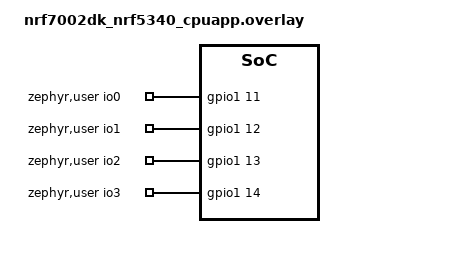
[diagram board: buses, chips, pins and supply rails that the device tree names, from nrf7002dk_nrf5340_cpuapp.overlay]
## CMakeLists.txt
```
cmake_minimum_required(VERSION 3.20.0)
find_package(Zephyr REQUIRED HINTS $ENV{ZEPHYR_BASE})

project(twt-testbed)

# Include directories for each module
target_include_directories(app PRIVATE
    ${CMAKE_CURRENT_SOURCE_DIR}/src/coap
    ${CMAKE_CURRENT_SOURCE_DIR}/src/profiler
    ${CMAKE_CURRENT_SOURCE_DIR}/src/wifi
    ${CMAKE_CURRENT_SOURCE_DIR}/src/tests
)

# Main source file
target_sources(app PRIVATE src/main.c)

# CoAP module
target_sources(app PRIVATE 
    src/coap/coap.c
    src/coap/coap_utils.c
    )

# Profiler module
target_sources(app PRIVATE src/profiler/profiler.c)

# WiFi module
target_sources(app PRIVATE
    src/wifi/wifi_ps.c
    src/wifi/wifi_sta.c
    src/wifi/wifi_twt.c
    src/wifi/wifi_utils.c
)

# Tests module
target_sources(app PRIVATE 
    src/tests/test_runner.c
    src/tests/test_sensor_twt.c
    src/tests/test_sensor_ps.c
    src/tests/test_sensor_twt_public_server.c
    src/tests/test_sensor_ps_public_server.c
    src/tests/test_large_packet_ps.c
    src/tests/test_large_packet_ps_public_server.c
    src/tests/test_large_packet_twt.c
    src/tests/test_large_packet_twt_public_server.c
)
```

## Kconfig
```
#
# Copyright (c) 2019 Nordic Semiconductor ASA
#
# SPDX-License-Identifier: LicenseRef-Nordic-5-Clause
#

menu "CoAP client"

config COAP_TWT_TESTBED_SERVER
  bool "Using TWT testbed server"

config COAP_TEST_SERVER_HOSTNAME
	string "CoAP server hostname or address"

config COAP_TEST_SERVER_PORT
	int "CoAP server port"

config COAP_TEST_RESOURCE
  depends on !COAP_TWT_TESTBED_SERVER
  string "Resource on server for the tests"


endmenu


choice
prompt "Select IP protocol"

config IP_PROTO_IPV4
  bool "IPv4"

config IP_PROTO_IPV6
  bool "IPv6"

endchoice



menu "Wi-Fi config"

menu "Wi-Fi credentials"
config WIFI_CREDENTIALS_STATIC_SSID
	string "Wi-Fi SSID"

config WIFI_CREDENTIALS_STATIC_PASSWORD
	string "Wi-Fi Password"

endmenu

menu "TWT config"

config TWT_ANNOUNCED_MODE
  bool "Enable TWT announced mode"

config TWT_TRIGGER
  bool "Enable TWT trigger"

config TWT_IMPLICIT
  bool "Enable TWT implicit"

endmenu

menu "PS settings"

config PS_LISTEN_INTERVAL
  int "Listen interval"
  help
    Listen Interval (used when PS is enabled and wakeup mode is listen interval)

endmenu
endmenu

menu "Tests"

config SENSOR_TESTS_ENABLE
  bool "Sensor Tests"

config SENSOR_PS_TESTS_ENABLE
  bool "PS"
  depends on SENSOR_TESTS_ENABLE

config SENSOR_PS_TEST_1
  bool "Test 1"
  depends on SENSOR_PS_TESTS_ENABLE

config SENSOR_PS_TEST_1_PS_ENABLED
  bool "PS enabled"
  depends on SENSOR_PS_TEST_1

config SENSOR_PS_TEST_1_ITERATIONS
  int "Iterations"
  depends on SENSOR_PS_TEST_1

config SENSOR_PS_TEST_1_SEND_INTERVAL
  int "Send interval (ms)"
  depends on SENSOR_PS_TEST_1

choice SENSOR_PS_TEST_1_MODE
  prompt "PS Mode"
  depends on SENSOR_PS_TEST_1 && SENSOR_PS_TEST_1_PS_ENABLED
  config SENSOR_PS_TEST_1_MODE_LEGACY
    bool "Legacy"
  config SENSOR_PS_TEST_1_MODE_WMM
    bool "WMM"
endchoice

choice SENSOR_PS_TEST_1_WAKEUP_MODE
  prompt "Wakeup mode"
  depends on SENSOR_PS_TEST_1 && SENSOR_PS_TEST_1_PS_ENABLED
  config SENSOR_PS_TEST_1_WAKEUP_MODE_DTIM
    bool "DTIM"
  config SENSOR_PS_TEST_1_WAKEUP_MODE_LISTENINTERVAL
    bool "Listen Interval"
endchoice

config SENSOR_PS_TEST_2
  bool "Test 2"
  depends on SENSOR_PS_TESTS_ENABLE

config SENSOR_PS_TEST_2_PS_ENABLED
  bool "PS enabled"
  depends on SENSOR_PS_TEST_2

config SENSOR_PS_TEST_2_ITERATIONS
  int "Iterations"
  depends on SENSOR_PS_TEST_2

config SENSOR_PS_TEST_2_SEND_INTERVAL
  int "Send interval (ms)"
  depends on SENSOR_PS_TEST_2

choice SENSOR_PS_TEST_2_MODE
  prompt "PS Mode"
  depends on SENSOR_PS_TEST_2 && SENSOR_PS_TEST_2_PS_ENABLED
  config SENSOR_PS_TEST_2_MODE_LEGACY
    bool "Legacy"
  config SENSOR_PS_TEST_2_MODE_WMM
    bool "WMM"
endchoice

choice SENSOR_PS_TEST_2_WAKEUP_MODE
  prompt "Wakeup mode"
  depends on SENSOR_PS_TEST_2 && SENSOR_PS_TEST_2_PS_ENABLED
  config SENSOR_PS_TEST_2_WAKEUP_MODE_DTIM
    bool "DTIM"
  config SENSOR_PS_TEST_2_WAKEUP_MODE_LISTENINTERVAL
    bool "Listen Interval"
endchoice
config SENSOR_PS_TEST_3
  bool "Test 3"
  depends on SENSOR_PS_TESTS_ENABLE

config SENSOR_PS_TEST_3_PS_ENABLED
  bool "PS enabled"
  depends on SENSOR_PS_TEST_3

config SENSOR_PS_TEST_3_ITERATIONS
  int "Iterations"
  depends on SENSOR_PS_TEST_3

config SENSOR_PS_TEST_3_SEND_INTERVAL
  int "Send interval (ms)"
  depends on SENSOR_PS_TEST_3

choice SENSOR_PS_TEST_3_MODE
  prompt "PS Mode"
  depends on SENSOR_PS_TEST_3 && SENSOR_PS_TEST_3_PS_ENABLED
  config SENSOR_PS_TEST_3_MODE_LEGACY
    bool "Legacy"
  config SENSOR_PS_TEST_3_MODE_WMM
    bool "WMM"
endchoice

choice SENSOR_PS_TEST_3_WAKEUP_MODE
  prompt "Wakeup mode"
  depends on SENSOR_PS_TEST_3 && SENSOR_PS_TEST_3_PS_ENABLED
  config SENSOR_PS_TEST_3_WAKEUP_MODE_DTIM
    bool "DTIM"
  config SENSOR_PS_TEST_3_WAKEUP_MODE_LISTENINTERVAL
    bool "Listen Interval"
endchoice

config SENSOR_PS_TEST_4
  bool "Test 4"
  depends on SENSOR_PS_TESTS_ENABLE

config SENSOR_PS_TEST_4_PS_ENABLED
  bool "PS enabled"
  depends on SENSOR_PS_TEST_4

config SENSOR_PS_TEST_4_ITERATIONS
  int "Iterations"
  depends on SENSOR_PS_TEST_4

config SENSOR_PS_TEST_4_SEND_INTERVAL
  int "Send interval (ms)"
  depends on SENSOR_PS_TEST_4

choice SENSOR_PS_TEST_4_MODE
  prompt "PS Mode"
  depends on SENSOR_PS_TEST_4 && SENSOR_PS_TEST_4_PS_ENABLED
  config SENSOR_PS_TEST_4_MODE_LEGACY
    bool "Legacy"
  config SENSOR_PS_TEST_4_MODE_WMM
    bool "WMM"
endchoice

choice SENSOR_PS_TEST_4_WAKEUP_MODE
  prompt "Wakeup mode"
  depends on SENSOR_PS_TEST_4 && SENSOR_PS_TEST_4_PS_ENABLED
  config SENSOR_PS_TEST_4_WAKEUP_MODE_DTIM
    bool "DTIM"
  config SENSOR_PS_TEST_4_WAKEUP_MODE_LISTENINTERVAL
    bool "Listen Interval"
endchoice

config SENSOR_PS_TEST_5
  bool "Test 5"
  depends on SENSOR_PS_TESTS_ENABLE

config SENSOR_PS_TEST_5_PS_ENABLED
  bool "PS enabled"
  depends on SENSOR_PS_TEST_5

config SENSOR_PS_TEST_5_ITERATIONS
  int "Iterations"
  depends on SENSOR_PS_TEST_5

config SENSOR_PS_TEST_5_SEND_INTERVAL
  int "Send interval (ms)"
  depends on SENSOR_PS_TEST_5

choice SENSOR_PS_TEST_5_MODE
  prompt "PS Mode"
  depends on SENSOR_PS_TEST_5 && SENSOR_PS_TEST_5_PS_ENABLED
  config SENSOR_PS_TEST_5_MODE_LEGACY
    bool "Legacy"
  config SENSOR_PS_TEST_5_MODE_WMM
    bool "WMM"
endchoice

choice SENSOR_PS_TEST_5_WAKEUP_MODE
  prompt "Wakeup mode"
  depends on SENSOR_PS_TEST_5 && SENSOR_PS_TEST_5_PS_ENABLED
  config SENSOR_PS_TEST_5_WAKEUP_MODE_DTIM
    bool "DTIM"
  config SENSOR_PS_TEST_5_WAKEUP_MODE_LISTENINTERVAL
    bool "Listen Interval"
endchoice

config SENSOR_TWT_TESTS_ENABLE
  bool "TWT"
  depends on SENSOR_TESTS_ENABLE

config SENSOR_TWT_TEST_1
  bool "Test 1"
  depends on SENSOR_TWT_TESTS_ENABLE

config SENSOR_TWT_TEST_1_ITERATIONS
  int "Iterations"
  depends on SENSOR_TWT_TEST_1

config SENSOR_TWT_TEST_1_INTERVAL
  int "TWT interval (ms)"
  depends on SENSOR_TWT_TEST_1

config SENSOR_TWT_TEST_1_SESSION_DURATION
  int "TWT session duration (ms)"
  depends on SENSOR_TWT_TEST_1

config SENSOR_TWT_TEST_2
  bool "Test 2"
  depends on SENSOR_TWT_TESTS_ENABLE

config SENSOR_TWT_TEST_2_ITERATIONS
  int "Iterations"
  depends on SENSOR_TWT_TEST_2

config SENSOR_TWT_TEST_2_INTERVAL
  int "TWT interval (ms)"
  depends on SENSOR_TWT_TEST_2

config SENSOR_TWT_TEST_2_SESSION_DURATION
  int "TWT session duration (ms)"
  depends on SENSOR_TWT_TEST_2

config SENSOR_TWT_TEST_3
  bool "Test 3"
  depends on SENSOR_TWT_TESTS_ENABLE

config SENSOR_TWT_TEST_3_ITERATIONS
  int "Iterations"
  depends on SENSOR_TWT_TEST_3

config SENSOR_TWT_TEST_3_INTERVAL
  int "TWT interval (ms)"
  depends on SENSOR_TWT_TEST_3

config SENSOR_TWT_TEST_3_SESSION_DURATION
  int "TWT session duration (ms)"
  depends on SENSOR_TWT_TEST_3

config SENSOR_TWT_TEST_4
  bool "Test 4"
  depends on SENSOR_TWT_TESTS_ENABLE

config SENSOR_TWT_TEST_4_ITERATIONS
  int "Iterations"
  depends on SENSOR_TWT_TEST_4

config SENSOR_TWT_TEST_4_INTERVAL
  int "TWT interval (ms)"
  depends on SENSOR_TWT_TEST_4

config SENSOR_TWT_TEST_4_SESSION_DURATION
  int "TWT session duration (ms)"
  depends on SENSOR_TWT_TEST_4

config SENSOR_TWT_TEST_5
  bool "Test 5"
  depends on SENSOR_TWT_TESTS_ENABLE

config SENSOR_TWT_TEST_5_ITERATIONS
  int "Iterations"
  depends on SENSOR_TWT_TEST_5

config SENSOR_TWT_TEST_5_INTERVAL
  int "TWT interval (ms)"
  depends on SENSOR_TWT_TEST_5

config SENSOR_TWT_TEST_5_SESSION_DURATION
  int "TWT session duration (ms)"
  depends on SENSOR_TWT_TEST_5



config LARGE_PACKET_TESTS_ENABLE
  bool "Large Packet Tests"

  config LARGE_PACKET_PS_TESTS_ENABLE
    bool "PS"
    depends on LARGE_PACKET_TESTS_ENABLE

  config LARGE_PACKET_PS_TEST_1
    bool "Test 1"
    depends on LARGE_PACKET_PS_TESTS_ENABLE

  choice LARGE_PACKET_PS_TEST_1_SERVER_CONFIG
    prompt "Large Packet Config"
    depends on LARGE_PACKET_PS_TEST_1 && COAP_TWT_TESTBED_SERVER
    config LARGE_PACKET_PS_TEST_1_SERVER_LREQ_SRES
      bool "Large request, small response"
    config LARGE_PACKET_PS_TEST_1_SERVER_SREQ_LRES
      bool "Small request, large response"
    config LARGE_PACKET_PS_TEST_1_SERVER_LREQ_LRES
      bool "Large request, large response"
  endchoice

  config LARGE_PACKET_PS_TEST_1_PS_ENABLED
    bool "PS enabled"
    depends on LARGE_PACKET_PS_TEST_1

  config LARGE_PACKET_PS_TEST_1_ITERATIONS
    int "Iterations"
    depends on LARGE_PACKET_PS_TEST_1

  config LARGE_PACKET_PS_TEST_1_SEND_INTERVAL
    int "Send interval (ms)"
    depends on LARGE_PACKET_PS_TEST_1

  config LARGE_PACKET_PS_TEST_1_NUM_BYTES
    int "Number of bytes"
    depends on LARGE_PACKET_PS_TEST_1

  choice LARGE_PACKET_PS_TEST_1_MODE
    prompt "PS Mode"
    depends on LARGE_PACKET_PS_TEST_1 && LARGE_PACKET_PS_TEST_1_PS_ENABLED
    config LARGE_PACKET_PS_TEST_1_MODE_LEGACY
      bool "Legacy"
    config LARGE_PACKET_PS_TEST_1_MODE_WMM
      bool "WMM"
  endchoice

  choice LARGE_PACKET_PS_TEST_1_WAKEUP_MODE
    prompt "Wakeup mode"
    depends on LARGE_PACKET_PS_TEST_1 && LARGE_PACKET_PS_TEST_1_PS_ENABLED
    config LARGE_PACKET_PS_TEST_1_WAKEUP_MODE_DTIM
      bool "DTIM"
    config LARGE_PACKET_PS_TEST_1_WAKEUP_MODE_LISTENINTERVAL
      bool "Listen Interval"
  endchoice

  config LARGE_PACKET_PS_TEST_2
    bool "Test 2"
    depends on LARGE_PACKET_PS_TESTS_ENABLE

  choice LARGE_PACKET_PS_TEST_2_SERVER_CONFIG
    prompt "Large Packets Config"
    depends on LARGE_PACKET_PS_TEST_2 && COAP_TWT_TESTBED_SERVER
    config LARGE_PACKET_PS_TEST_2_SERVER_LREQ_SRES
      bool "Large request, small response"
    config LARGE_PACKET_PS_TEST_2_SERVER_SREQ_LRES
      bool "Small request, large response"
    config LARGE_PACKET_PS_TEST_2_SERVER_LREQ_LRES
      bool "Large request, large response"
  endchoice

  config LARGE_PACKET_PS_TEST_2_PS_ENABLED
    bool "PS enabled"
    depends on LARGE_PACKET_PS_TEST_2

  config LARGE_PACKET_PS_TEST_2_ITERATIONS
    int "Iterations"
    depends on LARGE_PACKET_PS_TEST_2

  config LARGE_PACKET_PS_TEST_2_SEND_INTERVAL
    int "Send interval (ms)"
    depends on LARGE_PACKET_PS_TEST_2

  config LARGE_PACKET_PS_TEST_2_NUM_BYTES
    int "Number of bytes"
    depends on LARGE_PACKET_PS_TEST_2

  choice LARGE_PACKET_PS_TEST_2_MODE
    prompt "PS Mode"
    depends on LARGE_PACKET_PS_TEST_2 && LARGE_PACKET_PS_TEST_2_PS_ENABLED
    config LARGE_PACKET_PS_TEST_2_MODE_LEGACY
      bool "Legacy"
    config LARGE_PACKET_PS_TEST_2_MODE_WMM
      bool "WMM"
  endchoice

  choice LARGE_PACKET_PS_TEST_2_WAKEUP_MODE
    prompt "Wakeup mode"
    depends on LARGE_PACKET_PS_TEST_2 && LARGE_PACKET_PS_TEST_2_PS_ENABLED
    config LARGE_PACKET_PS_TEST_2_WAKEUP_MODE_DTIM
      bool "DTIM"
    config LARGE_PACKET_PS_TEST_2_WAKEUP_MODE_LISTENINTERVAL
      bool "Listen Interval"
  endchoice

  config LARGE_PACKET_PS_TEST_3
    bool "Test 3"
    depends on LARGE_PACKET_PS_TESTS_ENABLE

  choice LARGE_PACKET_PS_TEST_3_SERVER_CONFIG
    prompt "Large Packets Config"
    depends on LARGE_PACKET_PS_TEST_3 && COAP_TWT_TESTBED_SERVER
    config LARGE_PACKET_PS_TEST_3_SERVER_LREQ_SRES
      bool "Large request, small response"
    config LARGE_PACKET_PS_TEST_3_SERVER_SREQ_LRES
      bool "Small request, large response"
    config LARGE_PACKET_PS_TEST_3_SERVER_LREQ_LRES
      bool "Large request, large response"
  endchoice

  config LARGE_PACKET_PS_TEST_3_PS_ENABLED
    bool "PS enabled"
    depends on LARGE_PACKET_PS_TEST_3

  config LARGE_PACKET_PS_TEST_3_ITERATIONS
    int "Iterations"
    depends on LARGE_PACKET_PS_TEST_3

  config LARGE_PACKET_PS_TEST_3_SEND_INTERVAL
    int "Send interval (ms)"
    depends on LARGE_PACKET_PS_TEST_3

  config LARGE_PACKET_PS_TEST_3_NUM_BYTES
    int "Number of bytes"
    depends on LARGE_PACKET_PS_TEST_3

  choice LARGE_PACKET_PS_TEST_3_MODE
    prompt "PS Mode"
    depends on LARGE_PACKET_PS_TEST_3 && LARGE_PACKET_PS_TEST_3_PS_ENABLED
    config LARGE_PACKET_PS_TEST_3_MODE_LEGACY
      bool "Legacy"
    config LARGE_PACKET_PS_TEST_3_MODE_WMM
      bool "WMM"
  endchoice

  choice LARGE_PACKET_PS_TEST_3_WAKEUP_MODE
    prompt "Wakeup mode"
    depends on LARGE_PACKET_PS_TEST_3 && LARGE_PACKET_PS_TEST_3_PS_ENABLED
    config LARGE_PACKET_PS_TEST_3_WAKEUP_MODE_DTIM
      bool "DTIM"
    config LARGE_PACKET_PS_TEST_3_WAKEUP_MODE_LISTENINTERVAL
      bool "Listen Interval"
  endchoice

  config LARGE_PACKET_TWT_TESTS_ENABLE
    bool "TWT"
    depends on LARGE_PACKET_TESTS_ENABLE

  config LARGE_PACKET_TWT_TEST_1
    bool "Test 1"
    depends on LARGE_PACKET_TWT_TESTS_ENABLE

  choice LARGE_PACKET_TWT_TEST_1_SERVER_CONFIG
    prompt "Large Packet Config"
    depends on LARGE_PACKET_TWT_TEST_1 && COAP_TWT_TESTBED_SERVER
    config LARGE_PACKET_TWT_TEST_1_SERVER_LREQ_SRES
      bool "Large request, small response"
    config LARGE_PACKET_TWT_TEST_1_SERVER_SREQ_LRES
      bool "Small request, large response"
    config LARGE_PACKET_TWT_TEST_1_SERVER_LREQ_LRES
      bool "Large request, large response"
  endchoice

  config LARGE_PACKET_TWT_TEST_1_ITERATIONS
    int "Iterations"
    depends on LARGE_PACKET_TWT_TEST_1

  config LARGE_PACKET_TWT_TEST_1_INTERVAL
    int "TWT interval (ms)"
    depends on LARGE_PACKET_TWT_TEST_1

  config LARGE_PACKET_TWT_TEST_1_SESSION_DURATION
    int "TWT session duration (ms)"
    depends on LARGE_PACKET_TWT_TEST_1

  config LARGE_PACKET_TWT_TEST_1_NUM_BYTES
    int "Number of bytes"
    depends on LARGE_PACKET_TWT_TEST_1

  config LARGE_PACKET_TWT_TEST_2
    bool "Test 2"
    depends on LARGE_PACKET_TWT_TESTS_ENABLE

  choice LARGE_PACKET_TWT_TEST_2_SERVER_CONFIG
    prompt "Large Packet Config"
    depends on LARGE_PACKET_TWT_TEST_2 && COAP_TWT_TESTBED_SERVER
    config LARGE_PACKET_TWT_TEST_2_SERVER_LREQ_SRES
      bool "Large request, small response"
    config LARGE_PACKET_TWT_TEST_2_SERVER_SREQ_LRES
      bool "Small request, large response"
    config LARGE_PACKET_TWT_TEST_2_SERVER_LREQ_LRES
      bool "Large request, large response"
  endchoice

  config LARGE_PACKET_TWT_TEST_2_ITERATIONS
    int "Iterations"
    depends on LARGE_PACKET_TWT_TEST_2

  config LARGE_PACKET_TWT_TEST_2_INTERVAL
    int "TWT interval (ms)"
    depends on LARGE_PACKET_TWT_TEST_2

  config LARGE_PACKET_TWT_TEST_2_SESSION_DURATION
    int "TWT session duration (ms)"
    depends on LARGE_PACKET_TWT_TEST_2

  config LARGE_PACKET_TWT_TEST_2_NUM_BYTES
    int "Number of bytes"
    depends on LARGE_PACKET_TWT_TEST_2

  config LARGE_PACKET_TWT_TEST_3
    bool "Test 3"
    depends on LARGE_PACKET_TWT_TESTS_ENABLE

  choice LARGE_PACKET_TWT_TEST_3_SERVER_CONFIG
    prompt "Large Packet Config"
    depends on LARGE_PACKET_TWT_TEST_3 && COAP_TWT_TESTBED_SERVER
    config LARGE_PACKET_TWT_TEST_3_SERVER_LREQ_SRES
      bool "Large request, small response"
    config LARGE_PACKET_TWT_TEST_3_SERVER_SREQ_LRES
      bool "Small request, large response"
    config LARGE_PACKET_TWT_TEST_3_SERVER_LREQ_LRES
      bool "Large request, large response"
  endchoice

  config LARGE_PACKET_TWT_TEST_3_ITERATIONS
    int "Iterations"
    depends on LARGE_PACKET_TWT_TEST_3

  config LARGE_PACKET_TWT_TEST_3_INTERVAL
    int "TWT interval (ms)"
    depends on LARGE_PACKET_TWT_TEST_3

  config LARGE_PACKET_TWT_TEST_3_SESSION_DURATION
    int "TWT session duration (ms)"
    depends on LARGE_PACKET_TWT_TEST_3

  config LARGE_PACKET_TWT_TEST_3_NUM_BYTES
    int "Number of bytes"
    depends on LARGE_PACKET_TWT_TEST_3

  

endmenu

menu "Log Levels"
config MY_MAIN_LOG_LEVEL
    int "Main log level"
    range 0 4
    depends on LOG
    help
      Levels are:

      - 0 OFF, do not write by default
      - 1 ERROR, default to only write LOG_LEVEL_ERR
      - 2 WARNING, default to write LOG_LEVEL_WRN
      - 3 INFO, default to write LOG_LEVEL_INFO
      - 4 DEBUG, default to write LOG_LEVEL_DBG

config MY_WIFI_LOG_LEVEL
    int "Wi-Fi log level"
    range 0 4
    depends on LOG
    help
      Levels are:

      - 0 OFF, do not write by default
      - 1 ERROR, default to only write LOG_LEVEL_ERR
      - 2 WARNING, default to write LOG_LEVEL_WRN
      - 3 INFO, default to write LOG_LEVEL_INFO
      - 4 DEBUG, default to write LOG_LEVEL_DBG

config MY_COAP_LOG_LEVEL
    int "CoAP log level"
    range 0 4
    depends on LOG
    help
      Levels are:

      - 0 OFF, do not write by default
      - 1 ERROR, default to only write LOG_LEVEL_ERR
      - 2 WARNING, default to write LOG_LEVEL_WRN
      - 3 INFO, default to write LOG_LEVEL_INFO
      - 4 DEBUG, default to write LOG_LEVEL_DBG

config MY_TEST_LOG_LEVEL
    int "Test log level"
    range 0 4
    depends on LOG
    help
      Levels are:

      - 0 OFF, do not write by default
      - 1 ERROR, default to only write LOG_LEVEL_ERR
      - 2 WARNING, default to write LOG_LEVEL_WRN
      - 3 INFO, default to write LOG_LEVEL_INFO
      - 4 DEBUG, default to write LOG_LEVEL_DBG
endmenu



menu "Zephyr Kernel"
source "Kconfig.zephyr"
endmenu
```

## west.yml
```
# Copyright (c) 2025 Nordic Semiconductor ASA
# SPDX-License-Identifier: Apache-2.0

manifest:
  self:
    west-commands: scripts/west-commands.yml

  remotes:
    - name: ncs
      url-base: https://github.com/nrfconnect

  projects:
    - name: nrf
      remote: ncs
      repo-path: sdk-nrf
      revision: v2.8.0
      import: true
```

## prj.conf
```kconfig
# General
CONFIG_LOG=y
CONFIG_ASSERT=y
CONFIG_REBOOT=y
CONFIG_MAIN_STACK_SIZE=4096
CONFIG_LOG_BUFFER_SIZE=4096
CONFIG_ENTROPY_GENERATOR=y
CONFIG_GPIO=y

# WiFi
CONFIG_WIFI=y
CONFIG_WIFI_NRF700X=y

# WPA supplicant
CONFIG_WPA_SUPP=y
CONFIG_NRF_WIFI_RPU_RECOVERY=y

CONFIG_WIFI_MGMT_EXT=y
CONFIG_WIFI_CREDENTIALS=y
CONFIG_WIFI_CREDENTIALS_STATIC=y


# Networking
CONFIG_NETWORKING=y
CONFIG_NET_SOCKETS=y
CONFIG_NET_IPV4=y
CONFIG_NET_UDP=y
CONFIG_NET_TCP=y
CONFIG_NET_DHCPV4=y

CONFIG_NET_IPV6=y

CONFIG_NET_PKT_RX_COUNT=8
CONFIG_NET_PKT_TX_COUNT=8


# Below section is the primary contributor to SRAM and is currently
# tuned for performance, but this will be revisited in the future.
CONFIG_NET_BUF_RX_COUNT=16
CONFIG_NET_BUF_TX_COUNT=16
CONFIG_NET_BUF_DATA_SIZE=128
CONFIG_HEAP_MEM_POOL_SIZE=153600
CONFIG_NET_TC_TX_COUNT=1

CONFIG_NET_IF_UNICAST_IPV4_ADDR_COUNT=1
CONFIG_NET_MAX_CONTEXTS=5
CONFIG_NET_CONTEXT_SYNC_RECV=y

CONFIG_INIT_STACKS=y

CONFIG_NET_L2_ETHERNET=y

CONFIG_NET_CONFIG_SETTINGS=y
CONFIG_NET_CONFIG_INIT_TIMEOUT=0

CONFIG_NET_SOCKETS_POLL_MAX=10


# CoAP
CONFIG_COAP=y
CONFIG_COAP_CLIENT=y
CONFIG_COAP_CLIENT_THREAD_PRIORITY=10
CONFIG_COAP_CLIENT_MESSAGE_SIZE=1024
CONFIG_COAP_CLIENT_MESSAGE_HEADER_SIZE=64

# DNS
CONFIG_DNS_RESOLVER=y

#ARP
CONFIG_NET_ARP=y


#Kconfig GUI parameters
CONFIG_COAP_TEST_SERVER_HOSTNAME="192.168.1.228"
CONFIG_COAP_TEST_SERVER_PORT=5683

CONFIG_WIFI_CREDENTIALS_STATIC_SSID="asus-ax58u"
CONFIG_WIFI_CREDENTIALS_STATIC_PASSWORD="twttestbench"

CONFIG_MY_MAIN_LOG_LEVEL=3
CONFIG_MY_WIFI_LOG_LEVEL=3
CONFIG_MY_COAP_LOG_LEVEL=3
CONFIG_MY_TEST_LOG_LEVEL=3

CONFIG_TWT_IMPLICIT=y

CONFIG_PS_LISTEN_INTERVAL=10

CONFIG_COAP_TEST_RESOURCE="validate"

CONFIG_TWT_ANNOUNCED_MODE=y

CONFIG_SENSOR_PS_TESTS_ENABLE=y
CONFIG_SENSOR_PS_TEST_1=y
CONFIG_SENSOR_PS_TEST_1_ITERATIONS=5
CONFIG_SENSOR_PS_TEST_1_SEND_INTERVAL=5000
CONFIG_SENSOR_PS_TEST_2=y
CONFIG_SENSOR_PS_TEST_2_PS_ENABLED=y
CONFIG_SENSOR_PS_TEST_2_ITERATIONS=5
CONFIG_SENSOR_PS_TEST_2_SEND_INTERVAL=5000
CONFIG_SENSOR_PS_TEST_3=y
CONFIG_SENSOR_PS_TEST_3_PS_ENABLED=y
CONFIG_SENSOR_PS_TEST_3_ITERATIONS=5
CONFIG_SENSOR_PS_TEST_3_SEND_INTERVAL=5000
CONFIG_SENSOR_PS_TEST_3_MODE_WMM=y
CONFIG_SENSOR_PS_TEST_4=y
CONFIG_SENSOR_PS_TEST_4_PS_ENABLED=y
CONFIG_SENSOR_PS_TEST_4_ITERATIONS=5
CONFIG_SENSOR_PS_TEST_4_SEND_INTERVAL=5000
CONFIG_SENSOR_PS_TEST_4_WAKEUP_MODE_LISTENINTERVAL=y
CONFIG_SENSOR_PS_TEST_5=y
CONFIG_SENSOR_PS_TEST_5_PS_ENABLED=y
CONFIG_SENSOR_PS_TEST_5_ITERATIONS=5
CONFIG_SENSOR_PS_TEST_5_SEND_INTERVAL=5000
CONFIG_SENSOR_PS_TEST_5_MODE_WMM=y
CONFIG_SENSOR_PS_TEST_5_WAKEUP_MODE_LISTENINTERVAL=y
CONFIG_SENSOR_TWT_TESTS_ENABLE=y
CONFIG_SENSOR_TWT_TEST_1=y
CONFIG_SENSOR_TWT_TEST_1_ITERATIONS=5
CONFIG_SENSOR_TWT_TEST_1_INTERVAL=5000
CONFIG_SENSOR_TWT_TEST_1_SESSION_DURATION=8
CONFIG_SENSOR_TWT_TEST_2=y
CONFIG_SENSOR_TWT_TEST_2_ITERATIONS=5
CONFIG_SENSOR_TWT_TEST_2_INTERVAL=5000
CONFIG_SENSOR_TWT_TEST_2_SESSION_DURATION=16
CONFIG_SENSOR_TWT_TEST_3=y
CONFIG_SENSOR_TWT_TEST_3_ITERATIONS=5
CONFIG_SENSOR_TWT_TEST_3_INTERVAL=5000
CONFIG_SENSOR_TWT_TEST_3_SESSION_DURATION=32
CONFIG_SENSOR_TWT_TEST_4=y
CONFIG_SENSOR_TWT_TEST_4_ITERATIONS=5
CONFIG_SENSOR_TWT_TEST_4_INTERVAL=5000
CONFIG_SENSOR_TWT_TEST_4_SESSION_DURATION=64
CONFIG_SENSOR_TWT_TEST_5=y
CONFIG_SENSOR_TWT_TEST_5_ITERATIONS=5
CONFIG_SENSOR_TWT_TEST_5_INTERVAL=5000
CONFIG_SENSOR_TWT_TEST_5_SESSION_DURATION=128
CONFIG_LARGE_PACKET_TESTS_ENABLE=y
CONFIG_LARGE_PACKET_PS_TEST_1=y
CONFIG_LARGE_PACKET_PS_TEST_1_ITERATIONS=5
CONFIG_LARGE_PACKET_PS_TEST_1_SEND_INTERVAL=5000
CONFIG_LARGE_PACKET_PS_TEST_1_NUM_BYTES=1000

CONFIG_LARGE_PACKET_PS_TEST_2_ITERATIONS=5
CONFIG_LARGE_PACKET_PS_TEST_2_SEND_INTERVAL=5000
CONFIG_LARGE_PACKET_PS_TEST_2_NUM_BYTES=1000

CONFIG_LARGE_PACKET_PS_TEST_2=y
CONFIG_LARGE_PACKET_PS_TEST_2_SERVER_SREQ_LRES=y
CONFIG_LARGE_PACKET_PS_TEST_3=y
CONFIG_LARGE_PACKET_PS_TEST_3_SERVER_LREQ_LRES=y
CONFIG_LARGE_PACKET_PS_TEST_3_ITERATIONS=5
CONFIG_LARGE_PACKET_PS_TEST_3_SEND_INTERVAL=5000
CONFIG_LARGE_PACKET_PS_TEST_3_NUM_BYTES=1000
CONFIG_LARGE_PACKET_TWT_TESTS_ENABLE=y
CONFIG_LARGE_PACKET_TWT_TEST_1=y
CONFIG_LARGE_PACKET_TWT_TEST_1_ITERATIONS=5
CONFIG_LARGE_PACKET_TWT_TEST_1_INTERVAL=5000
CONFIG_LARGE_PACKET_TWT_TEST_1_SESSION_DURATION=32
CONFIG_LARGE_PACKET_TWT_TEST_1_NUM_BYTES=1000
CONFIG_LARGE_PACKET_TWT_TEST_2=y
CONFIG_LARGE_PACKET_TWT_TEST_2_ITERATIONS=5
CONFIG_LARGE_PACKET_TWT_TEST_2_INTERVAL=5000
CONFIG_LARGE_PACKET_TWT_TEST_2_SESSION_DURATION=32
CONFIG_LARGE_PACKET_TWT_TEST_2_NUM_BYTES=1000
CONFIG_LARGE_PACKET_TWT_TEST_3=y
CONFIG_LARGE_PACKET_TWT_TEST_3_ITERATIONS=5
CONFIG_LARGE_PACKET_TWT_TEST_3_INTERVAL=5000
CONFIG_LARGE_PACKET_TWT_TEST_3_SESSION_DURATION=32
CONFIG_LARGE_PACKET_TWT_TEST_3_NUM_BYTES=1000
CONFIG_COAP_TWT_TESTBED_SERVER=y
```

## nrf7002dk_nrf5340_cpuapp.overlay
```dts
// To get started, press Ctrl+Space to bring up the completion menu and view the available nodes.

// You can also use the buttons in the sidebar to perform actions on nodes.
// Actions currently available include:

// * Enabling / disabling the node
// * Adding the bus to a bus
// * Removing the node
// * Connecting ADC channels

// For more help, browse the DeviceTree documentation at https://docs.zephyrproject.org/latest/guides/dts/index.html
// You can also visit the nRF DeviceTree extension documentation at https://docs.nordicsemi.com/bundle/nrf-connect-vscode/page/guides/ncs_configure_app.html#devicetree-support-in-the-extension

/ {
	zephyr,user {
		io0-gpios = <&gpio1 11 GPIO_ACTIVE_HIGH>;
		io1-gpios = <&gpio1 12 GPIO_ACTIVE_HIGH>;
		io2-gpios = <&gpio1 13 GPIO_ACTIVE_HIGH>;
		io3-gpios = <&gpio1 14 GPIO_ACTIVE_HIGH>;
	};
};
```

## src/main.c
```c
#include <stdio.h>
#include <string.h>

#include <zephyr/kernel.h>
#include <zephyr/logging/log.h>
#include <zephyr/logging/log_ctrl.h>
#include <zephyr/random/random.h>

#include "wifi_sta.h"
#include "wifi_ps.h"
#include "wifi_twt.h"

#include "coap.h"

#include "profiler.h"

#include "test_runner.h"


LOG_MODULE_REGISTER(main, CONFIG_MY_MAIN_LOG_LEVEL);


int main(void)
{
    int ret;

    LOG_INF("Starting TWT testbed ...");

    // initialize setup
    ret = profiler_init();
    if(ret != 0)
    {
        LOG_ERR("Failed to initialize profiler");
        k_sleep(K_FOREVER);
    }

    wifi_init();

    wifi_ps_set_listen_interval(CONFIG_PS_LISTEN_INTERVAL);

    ret = wifi_ps_disable();
    if(ret != 0)
    {
        LOG_ERR("Failed to disable power save mode");
        k_sleep(K_FOREVER);
    }

    ret = wifi_connect();
    if(ret != 0)
    {
        LOG_ERR("Failed to connect to wifi");
        k_sleep(K_FOREVER);
    }

    
    coap_init();
    if(ret != 0)
    {
        LOG_ERR("Failed to initialize CoAP client");
        k_sleep(K_FOREVER);
    }

    //test code
    coap_validate();

    k_sleep(K_SECONDS(10));

    coap_observe("observe","/5/2/10/",true);


    k_sleep(K_FOREVER);

    //end test code



    k_sleep(K_SECONDS(1));
 
    #ifdef CONFIG_COAP_TWT_TESTBED_SERVER
    ret = coap_validate();
    if(ret != 0)
    {
        LOG_ERR("Failed to validate CoAP client");
        k_sleep(K_FOREVER);
    }
    #endif //CONFIG_COAP_TWT_TESTBED_SERVER

    ret = wifi_disconnect();
    if(ret != 0)
    {
        LOG_ERR("Failed to disconnect from wifi");
        k_sleep(K_FOREVER);
     }

    k_sleep(K_SECONDS(1));

    LOG_INF("TWT testbed initialized. Running tests ...");

    //run tests

    run_tests();


    LOG_INF("Tests Finished!");


    k_sleep(K_FOREVER);
    return 0;
}
```

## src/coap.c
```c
#include "coap.h"

#include <zephyr/net/socket.h>
#include <zephyr/kernel.h>
#include <zephyr/sys/reboot.h>
#include <zephyr/net/socket.h>
#include <zephyr/logging/log.h>
#include <zephyr/logging/log_ctrl.h>
#include <zephyr/net/tls_credentials.h>
#include <zephyr/net/coap.h>
#include <zephyr/net/coap_client.h>

LOG_MODULE_REGISTER(coap, CONFIG_MY_COAP_LOG_LEVEL);

#define COAP_REQUESTS_HEAP_SIZE 512
#define STACK_SIZE 4096
#define PRIORITY 8

K_THREAD_STACK_DEFINE(thread_stack, STACK_SIZE);
struct k_thread coap_thread_data;

K_HEAP_DEFINE(coap_requests_heap, COAP_REQUESTS_HEAP_SIZE);

K_SEM_DEFINE(send_sem, 0, 1);
K_SEM_DEFINE(sent_sem, 0, 1);

K_SEM_DEFINE(init_sem, 0, 1);
K_SEM_DEFINE(validate_sem, 0, 1);

struct request_user_data {
	struct coap_client_request *req;
	struct coap_transmission_parameters *req_params;
};


#define MSGQ_SIZE 1
K_MSGQ_DEFINE(coap_req_msgq, sizeof(struct coap_client_request*), MSGQ_SIZE, 4);
K_MSGQ_DEFINE(coap_ret_msgq, sizeof(int), MSGQ_SIZE, 4);
K_MSGQ_DEFINE(coap_stat_msgq, sizeof(int), MSGQ_SIZE, 4);


void (*coap_response_callback)(int16_t code, void * user_data) = NULL;
void * coap_response_callback_user_data = NULL;

void coap_register_response_callback(void (*callback)(int16_t code, void * user_data),void * callback_user_data) {
	coap_response_callback_user_data = callback_user_data;
	coap_response_callback = callback;
}

#ifndef CONFIG_IP_PROTO_IPV6
int server_resolve(struct sockaddr_in* server_ptr)
{
    int err;

    LOG_DBG("Resolving server name: %s", CONFIG_COAP_TEST_SERVER_HOSTNAME);

    // Check if the hostname is an IP address
	err = inet_pton(AF_INET, CONFIG_COAP_TEST_SERVER_HOSTNAME, &server_ptr->sin_addr);
    if (err == 1) {
        // Successfully converted IP address
        server_ptr->sin_family = AF_INET;
		server_ptr->sin_port = htons(CONFIG_COAP_TEST_SERVER_PORT);
        LOG_DBG("Server resolved: %s", CONFIG_COAP_TEST_SERVER_HOSTNAME);
        return 0;
    } else if (err == 0) {
        // Not a valid IP address, proceed with DNS resolution
		struct addrinfo hints = {
			.ai_family = AF_INET,
			.ai_socktype = SOCK_DGRAM
		};
		struct addrinfo *result;
		int addr_err;
		char ipv4_addr[NET_IPV4_ADDR_LEN];

		addr_err = getaddrinfo(CONFIG_COAP_TEST_SERVER_HOSTNAME, NULL, &hints, &result);
		if (addr_err != 0) {
			LOG_ERR("getaddrinfo failed, error: %d", addr_err);
			return -EIO;
		}

		if (result == NULL) {
			LOG_ERR("Address not found");
			return -ENOENT;
		}

		server_ptr->sin_addr.s_addr =((struct sockaddr_in *)result->ai_addr)->sin_addr.s_addr;
		server_ptr->sin_family = AF_INET;
		server_ptr->sin_port = htons(CONFIG_COAP_TEST_SERVER_PORT);

		inet_ntop(AF_INET, &server_ptr->sin_addr.s_addr, ipv4_addr,sizeof(ipv4_addr));
		LOG_INF("IPv4 Address found %s", ipv4_addr);

		//free result pointer
		freeaddrinfo(result);

        return 0;
    } else {
        // inet_pton failed
        LOG_ERR("inet_pton failed, error: %d", errno);
        return -errno;
    }
}
#else // CONFIG_IP_PROTO_IPV6
int server_resolve(struct sockaddr_in6* server_ptr)
{
	int err;

	LOG_DBG("Resolving server name: %s", CONFIG_COAP_TEST_SERVER_HOSTNAME);

	// Check if the hostname is an IPv6 address
	err = inet_pton(AF_INET6, CONFIG_COAP_TEST_SERVER_HOSTNAME, &server_ptr->sin6_addr);
	if (err == 1) {
		// Successfully converted IP address
		server_ptr->sin6_family = AF_INET6;
		server_ptr->sin6_port = htons(CONFIG_COAP_TEST_SERVER_PORT);
		LOG_DBG("Server resolved: %s", CONFIG_COAP_TEST_SERVER_HOSTNAME);
		return 0;
	} else if (err == 0) {
		// Not a valid IP address
		struct addrinfo hints = {
			.ai_family = AF_INET6,
			.ai_socktype = SOCK_DGRAM
		};
		struct addrinfo *result;
		int addr_err;
		char ipv6_addr[INET6_ADDRSTRLEN];

		addr_err = getaddrinfo(CONFIG_COAP_TEST_SERVER_HOSTNAME, NULL, &hints, &result);
		if (addr_err != 0) {
			LOG_ERR("getaddrinfo failed, error: %d", addr_err);
			return -EIO;
		}

		if (result == NULL) {
			LOG_ERR("Address not found");
			return -ENOENT;
		}

		server_ptr->sin6_addr = ((struct sockaddr_in6 *)result->ai_addr)->sin6_addr;
		server_ptr->sin6_family = AF_INET6;
		server_ptr->sin6_port = htons(CONFIG_COAP_TEST_SERVER_PORT);

		inet_ntop(AF_INET6, &server_ptr->sin6_addr, ipv6_addr, sizeof(ipv6_addr));
		LOG_INF("IPv6 Address found %s", ipv6_addr);

		// Free result pointer
		freeaddrinfo(result);

		return 0;
	} else {
		// inet_pton failed
		LOG_ERR("inet_pton failed, error: %d", errno);
		return -errno;
	}
}
#endif // CONFIG_IP_PROTO_IPV6

struct coap_client_request *alloc_coap_request(uint16_t path_len, uint16_t payload_len) {
	//allocate memory for the request
	struct coap_client_request *req = k_heap_alloc(&coap_requests_heap, sizeof(struct coap_client_request), K_NO_WAIT);
    if (!req) {
		LOG_ERR("Failed to allocate memory for CoAP request");
    }

	// allocate memory for the path
    req->path = k_heap_alloc(&coap_requests_heap, path_len, K_NO_WAIT);
    if (!req->path) {
        k_heap_free(&coap_requests_heap, req);
		LOG_ERR("Failed to allocate memory for CoAP request path");
    }

	// allocate memory for the payload
    req->payload = k_heap_alloc(&coap_requests_heap, payload_len, K_NO_WAIT);
    if (!req->path) {
		k_heap_free(&coap_requests_heap, req->path);
        k_heap_free(&coap_requests_heap, req);
		LOG_ERR("Failed to allocate memory for CoAP payload");
    }

	req->user_data= k_heap_alloc(&coap_requests_heap, sizeof(struct request_user_data), K_NO_WAIT);
	if (!req->user_data) {
		k_heap_free(&coap_requests_heap, req->path);
		k_heap_free(&coap_requests_heap, req->payload);
		k_heap_free(&coap_requests_heap, req);
		LOG_ERR("Failed to allocate memory for CoAP user data");
	}
	((struct request_user_data*)req->user_data)->req = req;

	((struct request_user_data*)req->user_data)->req_params = k_heap_alloc(&coap_requests_heap, sizeof(struct coap_transmission_parameters), K_NO_WAIT);
	if (!((struct request_user_data*)req->user_data)->req_params) {
		k_heap_free(&coap_requests_heap, req->user_data);
		k_heap_free(&coap_requests_heap, req->path);
		k_heap_free(&coap_requests_heap, req->payload);
		k_heap_free(&coap_requests_heap, req);
		LOG_ERR("Failed to allocate memory for CoAP transmission parameters");
	}
	return req;
}

void free_coap_request(void * data) {
	struct coap_client_request *req = ((struct request_user_data*)data)->req;
	struct coap_transmission_parameters *req_params = ((struct request_user_data*)data)->req_params;

	k_heap_free(&coap_requests_heap, req_params);
	k_heap_free(&coap_requests_heap, req->user_data);
	k_heap_free(&coap_requests_heap, req->path);
	k_heap_free(&coap_requests_heap, req->payload);
	k_heap_free(&coap_requests_heap, req);
}


static void response_cb(int16_t code, size_t offset, const uint8_t *payload,
			size_t len, bool last_block, void *user_data)
{
	if (code >= 0) {
		if(len==0){
			LOG_INF("CoAP response: code: 0x%x", code);
		}else{
			LOG_INF("CoAP response: code: 0x%x, payload: %s", code, payload);
		}
	} else {
		LOG_INF("Response received with error code: %d", code);
	}
	free_coap_request(user_data);
	if(coap_response_callback)
	{
		(*coap_response_callback)(code, coap_response_callback_user_data);
	}
}

static void valid_response_cb(int16_t code, size_t offset, const uint8_t *payload,
			size_t len, bool last_block, void *user_data)
{
	if (code >= 0) {
		if(len==0){
			LOG_INF("CoAP validate response: code: 0x%x", code);
		}else{
			LOG_INF("CoAP validate response: code: 0x%x, payload: %s", code, payload);
		}
	} else {
		LOG_INF("CoAP validate request timed out: error code: %d", code);
	}
	free_coap_request(user_data);
	if (code >= 0 && len > 0) {
		if(strcmp(payload,"valid")==0){
			k_sem_give(&validate_sem);
		}
	}
}

static void stat_response_cb(int16_t code, size_t offset, const uint8_t *payload,
			size_t len, bool last_block, void *user_data)
{
	if (code >= 0) {
		if(len==0){
			LOG_INF("CoAP stat response: code: 0x%x", code);
		}else{
			LOG_INF("CoAP stat response: code: 0x%x, payload: %s", code, payload);
		}
	} else {
		LOG_INF("CoAP stat request timed out: error code: %d", code);
	}
	free_coap_request(user_data);
	if (code >= 0 && len > 0) {
		int stat_value = atoi((const char *)payload);
		if (k_msgq_put(&coap_stat_msgq, &stat_value, K_NO_WAIT) != 0) {
			LOG_ERR("Failed to enqueue CoAP stat");
		}
		
	}
}

int coap_put(char *resource,uint8_t *payload, uint32_t timeout)
{
	struct coap_client_request* req = alloc_coap_request(strlen(resource)+1, strlen(payload)+1);
	struct coap_transmission_parameters* req_params = ((struct request_user_data*)req->user_data)->req_params;

	req->method = COAP_METHOD_PUT;
	req->confirmable = true;
	strcpy(req->path,resource);
	req->fmt = COAP_CONTENT_FORMAT_TEXT_PLAIN;
	req->cb = response_cb;
	strcpy(req->payload,payload);
	req->len = strlen(payload);
	req->num_options = 0;
	req->options = NULL;

	req_params->ack_timeout = timeout;
	req_params->coap_backoff_percent = 100;
	req_params->max_retransmission = 0;

	if (k_msgq_put(&coap_req_msgq, &(req->user_data), K_NO_WAIT) != 0) {
        LOG_ERR("Failed to enqueue CoAP request");
        free_coap_request(req->user_data);
        return -ENOMEM;
    }

	k_sem_give(&send_sem);
	k_sem_take(&sent_sem, K_FOREVER);

	int ret;

	if (k_msgq_get(&coap_ret_msgq, &ret, K_NO_WAIT) != 0) {
		LOG_ERR("Failed to retrieve return value from message queue");
		return -ENOEXEC;
	}
	return ret;
}


int coap_validate()
{
	struct coap_client_request* req = alloc_coap_request(strlen("validate")+1, 0);
	struct coap_transmission_parameters* req_params = ((struct request_user_data*)req->user_data)->req_params;

	req->method = COAP_METHOD_GET;
	req->confirmable = true;
	strcpy(req->path,"validate");
	req->fmt = COAP_CONTENT_FORMAT_TEXT_PLAIN;
	req->cb = valid_response_cb;
	req->payload = NULL;
	req->len = 0;
	req->num_options = 0;
	req->options = NULL;

	req_params->ack_timeout = 1000;
	req_params->coap_backoff_percent = 100;
	req_params->max_retransmission = 5;

	if (k_msgq_put(&coap_req_msgq, &(req->user_data), K_NO_WAIT) != 0) {
        LOG_ERR("Failed to enqueue CoAP request");
        free_coap_request(req->user_data);
        return -ENOMEM;
    }

	k_sem_give(&send_sem);
	k_sem_take(&sent_sem, K_FOREVER);

	int ret;

	if (k_msgq_get(&coap_ret_msgq, &ret, K_NO_WAIT) != 0) {
		LOG_ERR("Failed to retrieve return value from message queue");
		return -ENOEXEC;
	}

	if (k_sem_take(&validate_sem, K_SECONDS(10)) != 0) {
		LOG_ERR("Validation timed out");
		return -ETIMEDOUT;
	}
	return ret;
}

int coap_get_stat()
{
	struct coap_client_request* req = alloc_coap_request(strlen("stat")+1, 0);
	struct coap_transmission_parameters* req_params = ((struct request_user_data*)req->user_data)->req_params;

	req->method = COAP_METHOD_GET;
	req->confirmable = true;
	strcpy(req->path,"stat");
	req->fmt = COAP_CONTENT_FORMAT_TEXT_PLAIN;
	req->cb = stat_response_cb;
	req->payload = NULL;
	req->len = 0;
	req->num_options = 0;
	req->options = NULL;

	req_params->ack_timeout = 1000;
	req_params->coap_backoff_percent = 100;
	req_params->max_retransmission = 5;

	if (k_msgq_put(&coap_req_msgq, &(req->user_data), K_NO_WAIT) != 0) {
        LOG_ERR("Failed to enqueue CoAP request");
        return -ENOMEM;
    }

	k_sem_give(&send_sem);
	k_sem_take(&sent_sem, K_FOREVER);

	int ret;

	if (k_msgq_get(&coap_ret_msgq, &ret, K_NO_WAIT) != 0) {
		LOG_ERR("Failed to retrieve return value from message queue");
		return -ENOEXEC;
	}

	if (k_msgq_get(&coap_stat_msgq, &ret, K_SECONDS(10)) != 0) {
		LOG_ERR("Failed to retrieve stat from message queue");
		return -1;
	}

	return ret;
}


void coap_thread(void *arg1, void *arg2, void *arg3)
{
	
	static int sock;

	#ifndef CONFIG_IP_PROTO_IPV6
	static struct sockaddr_in server = { 0 };
	#else // CONFIG_IP_PROTO_IPV6
	static struct sockaddr_in6 server = { 0 };
	#endif // CONFIG_IP_PROTO_IPV6

	static struct coap_client coap_client = { 0 };

	//initialize server

	int err;

	err = server_resolve(&server);
	if (err) {
		LOG_ERR("Failed to resolve server name");
		k_sleep(K_FOREVER);
	}
	
	#ifndef CONFIG_IP_PROTO_IPV6
	sock = socket(AF_INET, SOCK_DGRAM, IPPROTO_UDP);
	#else // CONFIG_IP_PROTO_IPV6
	sock = socket(AF_INET6, SOCK_DGRAM, IPPROTO_UDP);
	#endif // CONFIG_IP_PROTO_IPV6

	if (sock < 0) {
		LOG_ERR("Failed to create CoAP socket: %d.", -errno);
		k_sleep(K_FOREVER);
	}

	LOG_INF("Initializing CoAP client");

	err = coap_client_init(&coap_client, NULL);
	if (err) {
		LOG_ERR("Failed to initialize CoAP client: %d", err);
		k_sleep(K_FOREVER);
	}

	k_sem_give(&init_sem);


	while (1) {
		//wait for semaphore
		k_sem_take(&send_sem, K_FOREVER);

		struct request_user_data *item;
        if (k_msgq_get(&coap_req_msgq, &item, K_NO_WAIT) != 0) {
            LOG_ERR("Failed to retrieve request from message queue");
			k_sem_give(&sent_sem);
            continue;
        }

		struct coap_client_request* req = ((struct request_user_data*)item)->req;
		struct coap_transmission_parameters* req_params = ((struct request_user_data*)item)->req_params;

		err = coap_client_req(&coap_client, sock, (struct sockaddr *)&server, req, req_params);
		if (err) {
			LOG_ERR("Failed to send request: %d", err);
			free_coap_request(req->user_data);
		}
		else
		{
			if(req->len==0){
				LOG_INF("CoAP request sent to %s, resource: %s",CONFIG_COAP_TEST_SERVER_HOSTNAME, req->path);
			}else{
				LOG_INF("CoAP request sent to %s, resource: %s, payload: %s",CONFIG_COAP_TEST_SERVER_HOSTNAME, req->path,req->payload);
			}
		}
		if (k_msgq_put(&coap_ret_msgq, &err, K_NO_WAIT) != 0) {
			LOG_ERR("Failed to enqueue CoAP return value");
		}

		k_sem_give(&sent_sem);
	}
	
}

// Function to initialize the test
int coap_init() {
	
	//start thread to handle CoAP 
    k_tid_t thread_id = k_thread_create(&coap_thread_data, thread_stack,
                                        K_THREAD_STACK_SIZEOF(thread_stack),
                                        coap_thread,
                                        NULL, NULL, NULL,
                                        PRIORITY, 0, K_NO_WAIT);
    k_thread_name_set(thread_id, "coap_thread");
    k_thread_start(thread_id);

	k_sem_take(&init_sem, K_FOREVER);

	return 0;
}
```

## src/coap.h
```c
#ifndef COAP_H
#define COAP_H

#include <zephyr/kernel.h>


int coap_init();

int coap_validate();

int coap_get_stat();

void coap_register_response_callback(void (*callback)(int16_t code, void * user_data),void * callback_user_data);

int coap_put(const char *resource,uint8_t *payload, uint32_t timeout);


#endif
```

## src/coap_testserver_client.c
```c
#include "coap_testserver_client.h"
#include "coap_utils.h"

#include <zephyr/net/socket.h>
#include <zephyr/kernel.h>
#include <zephyr/sys/reboot.h>
#include <zephyr/net/socket.h>
#include <zephyr/logging/log.h>
#include <zephyr/logging/log_ctrl.h>
#include <zephyr/net/tls_credentials.h>
#include <zephyr/net/coap.h>

/*
LOG_MODULE_REGISTER(coap_testserver_client, CONFIG_MY_COAP_LOG_LEVEL);

#define STACK_SIZE 4096
#define PRIORITY 8

K_THREAD_STACK_DEFINE(thread_stack, STACK_SIZE);
struct k_thread coap_thread_data;


K_SEM_DEFINE(send_sem, 0, 1);
K_SEM_DEFINE(sent_sem, 0, 1);

K_SEM_DEFINE(init_sem, 0, 1);
K_SEM_DEFINE(validate_sem, 0, 1);


#define MSGQ_SIZE 1
K_MSGQ_DEFINE(coap_req_msgq, sizeof(struct coap_client_request*), MSGQ_SIZE, 4);
K_MSGQ_DEFINE(coap_ret_msgq, sizeof(int), MSGQ_SIZE, 4);
K_MSGQ_DEFINE(coap_stat_msgq, sizeof(int), MSGQ_SIZE, 4);


void (*coap_response_callback)(int16_t code, void * user_data) = NULL;
void * coap_response_callback_user_data = NULL;

void coap_register_response_callback(void (*callback)(int16_t code, void * user_data),void * callback_user_data) {
	coap_response_callback_user_data = callback_user_data;
	coap_response_callback = callback;
}

static void response_cb(int16_t code, size_t offset, const uint8_t *payload,
			size_t len, bool last_block, void *user_data)
{
	if (code >= 0) {
		if(len==0){
			LOG_INF("CoAP response: code: 0x%x", code);
		}else{
			LOG_INF("CoAP response: code: 0x%x, payload: %s", code, payload);
		}
	} else {
		LOG_INF("Response received with error code: %d", code);
	}
	free_coap_request(user_data);
	if(coap_response_callback)
	{
		(*coap_response_callback)(code, coap_response_callback_user_data);
	}
}

static void valid_response_cb(int16_t code, size_t offset, const uint8_t *payload,
			size_t len, bool last_block, void *user_data)
{
	if (code >= 0) {
		if(len==0){
			LOG_INF("CoAP validate response: code: 0x%x", code);
		}else{
			LOG_INF("CoAP validate response: code: 0x%x, payload: %s", code, payload);
		}
	} else {
		LOG_INF("CoAP validate request timed out: error code: %d", code);
	}
	free_coap_request(user_data);
	if (code >= 0 && len > 0) {
		if(strcmp(payload,"valid")==0){
			k_sem_give(&validate_sem);
		}
	}
}

static void stat_response_cb(int16_t code, size_t offset, const uint8_t *payload,
			size_t len, bool last_block, void *user_data)
{
	if (code >= 0) {
		if(len==0){
			LOG_INF("CoAP stat response: code: 0x%x", code);
		}else{
			LOG_INF("CoAP stat response: code: 0x%x, payload: %s", code, payload);
		}
	} else {
		LOG_INF("CoAP stat request timed out: error code: %d", code);
	}
	free_coap_request(user_data);
	if (code >= 0 && len > 0) {
		int stat_value = atoi((const char *)payload);
		if (k_msgq_put(&coap_stat_msgq, &stat_value, K_NO_WAIT) != 0) {
			LOG_ERR("Failed to enqueue CoAP stat");
		}
		
	}
}

int coap_put(char *resource,uint8_t *payload, uint32_t timeout)
{
	struct coap_client_request* req = alloc_coap_request(strlen(resource)+1, strlen(payload)+1);
	struct coap_transmission_parameters* req_params = ((struct request_user_data*)req->user_data)->req_params;

	req->method = COAP_METHOD_PUT;
	req->confirmable = true;
	strcpy(req->path,resource);
	req->fmt = COAP_CONTENT_FORMAT_TEXT_PLAIN;
	req->cb = response_cb;
	strcpy(req->payload,payload);
	req->len = strlen(payload);
	req->num_options = 0;
	req->options = NULL;

	req_params->ack_timeout = timeout;
	req_params->coap_backoff_percent = 100;
	req_params->max_retransmission = 0;

	if (k_msgq_put(&coap_req_msgq, &(req->user_data), K_NO_WAIT) != 0) {
        LOG_ERR("Failed to enqueue CoAP request");
        free_coap_request(req->user_data);
        return -ENOMEM;
    }

	k_sem_give(&send_sem);
	k_sem_take(&sent_sem, K_FOREVER);

	int ret;

	if (k_msgq_get(&coap_ret_msgq, &ret, K_NO_WAIT) != 0) {
		LOG_ERR("Failed to retrieve return value from message queue");
		return -ENOEXEC;
	}
	return ret;
}


int coap_validate()
{
	struct coap_client_request* req = alloc_coap_request(strlen("validate")+1, 0);
	struct coap_transmission_parameters* req_params = ((struct request_user_data*)req->user_data)->req_params;

	req->method = COAP_METHOD_GET;
	req->confirmable = true;
	strcpy(req->path,"validate");
	req->fmt = COAP_CONTENT_FORMAT_TEXT_PLAIN;
	req->cb = valid_response_cb;
	req->payload = NULL;
	req->len = 0;
	req->num_options = 0;
	req->options = NULL;

	req_params->ack_timeout = 5000;
	req_params->coap_backoff_percent = 100;
	req_params->max_retransmission = 0;

	if (k_msgq_put(&coap_req_msgq, &(req->user_data), K_NO_WAIT) != 0) {
        LOG_ERR("Failed to enqueue CoAP request");
        free_coap_request(req->user_data);
        return -ENOMEM;
    }

	k_sem_give(&send_sem);
	k_sem_take(&sent_sem, K_FOREVER);

	int ret;

	if (k_msgq_get(&coap_ret_msgq, &ret, K_NO_WAIT) != 0) {
		LOG_ERR("Failed to retrieve return value from message queue");
		return -ENOEXEC;
	}

	if (k_sem_take(&validate_sem, K_SECONDS(5)) != 0) {
		LOG_ERR("Validation timed out");
		return -ETIMEDOUT;
	}
	return ret;
}

int coap_get_stat()
{
	struct coap_client_request* req = alloc_coap_request(strlen("stat")+1, 0);
	struct coap_transmission_parameters* req_params = ((struct request_user_data*)req->user_data)->req_params;

	req->method = COAP_METHOD_GET;
	req->confirmable = true;
	strcpy(req->path,"stat");
	req->fmt = COAP_CONTENT_FORMAT_TEXT_PLAIN;
	req->cb = stat_response_cb;
	req->payload = NULL;
	req->len = 0;
	req->num_options = 0;
	req->options = NULL;

	req_params->ack_timeout = 1000;
	req_params->coap_backoff_percent = 100;
	req_params->max_retransmission = 5;

	if (k_msgq_put(&coap_req_msgq, &(req->user_data), K_NO_WAIT) != 0) {
        LOG_ERR("Failed to enqueue CoAP request");
        return -ENOMEM;
    }

	k_sem_give(&send_sem);
	k_sem_take(&sent_sem, K_FOREVER);

	int ret;

	if (k_msgq_get(&coap_ret_msgq, &ret, K_NO_WAIT) != 0) {
		LOG_ERR("Failed to retrieve return value from message queue");
		return -ENOEXEC;
	}

	if (k_msgq_get(&coap_stat_msgq, &ret, K_SECONDS(8)) != 0) {
		LOG_ERR("Failed to retrieve stat from message queue");
		return -1;
	}

	return ret;
}


void coap_thread(void *arg1, void *arg2, void *arg3)
{
	
	static int sock;

	#ifndef CONFIG_IP_PROTO_IPV6
	static struct sockaddr_in server = { 0 };
	#else // CONFIG_IP_PROTO_IPV6
	static struct sockaddr_in6 server = { 0 };
	#endif // CONFIG_IP_PROTO_IPV6

	static struct coap_client coap_client = { 0 };

	//initialize server

	int err;

	err = server_resolve(&server);
	if (err) {
		LOG_ERR("Failed to resolve server name");
		k_sleep(K_FOREVER);
	}
	
	#ifndef CONFIG_IP_PROTO_IPV6
	sock = socket(AF_INET, SOCK_DGRAM, IPPROTO_UDP);
	#else // CONFIG_IP_PROTO_IPV6
	sock = socket(AF_INET6, SOCK_DGRAM, IPPROTO_UDP);
	#endif // CONFIG_IP_PROTO_IPV6

	if (sock < 0) {
		LOG_ERR("Failed to create CoAP socket: %d.", -errno);
		k_sleep(K_FOREVER);
	}

	LOG_INF("Initializing CoAP client");

	err = coap_client_init(&coap_client, NULL);
	if (err) {
		LOG_ERR("Failed to initialize CoAP client: %d", err);
		k_sleep(K_FOREVER);
	}

	k_sem_give(&init_sem);


	while (1) {
		//wait for semaphore
		k_sem_take(&send_sem, K_FOREVER);

		struct request_user_data *item;
        if (k_msgq_get(&coap_req_msgq, &item, K_NO_WAIT) != 0) {
            LOG_ERR("Failed to retrieve request from message queue");
			k_sem_give(&sent_sem);
            continue;
        }

		struct coap_client_request* req = ((struct request_user_data*)item)->req;
		struct coap_transmission_parameters* req_params = ((struct request_user_data*)item)->req_params;

		err = coap_client_req(&coap_client, sock, (struct sockaddr *)&server, req, req_params);
		if (err) {
			LOG_ERR("Failed to send request: %d", err);
			free_coap_request(req->user_data);
		}
		else
		{
			if(req->len==0){
				LOG_INF("CoAP request sent to %s, resource: %s",CONFIG_COAP_TEST_SERVER_HOSTNAME, req->path);
			}else{
				LOG_INF("CoAP request sent to %s, resource: %s, payload: %s",CONFIG_COAP_TEST_SERVER_HOSTNAME, req->path,req->payload);
			}
		}
		if (k_msgq_put(&coap_ret_msgq, &err, K_NO_WAIT) != 0) {
			LOG_ERR("Failed to enqueue CoAP return value");
		}

		k_sem_give(&sent_sem);
	}
	
}

// Function to initialize the test
int coap_init() {
	
	//start thread to handle CoAP 
    k_tid_t thread_id = k_thread_create(&coap_thread_data, thread_stack,
                                        K_THREAD_STACK_SIZEOF(thread_stack),
                                        coap_thread,
                                        NULL, NULL, NULL,
                                        PRIORITY, 0, K_NO_WAIT);
    k_thread_name_set(thread_id, "coap_thread");
    k_thread_start(thread_id);

	k_sem_take(&init_sem, K_FOREVER);

	return 0;
}


*/
```

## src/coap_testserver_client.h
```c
#ifndef COAP_TESTSERVER_CLIENT_H
#define COAP_TESTSERVER_CLIENT_H

#include <zephyr/kernel.h>

/*
int coap_init();

int coap_validate();

int coap_get_stat();

void coap_register_response_callback(void (*callback)(int16_t code, void * user_data),void * callback_user_data);

int coap_put(char *resource,uint8_t *payload, uint32_t timeout);
*/

#endif
```

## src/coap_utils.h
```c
#ifndef COAP_UTILS_H
#define COAP_UTILS_H

#include <zephyr/kernel.h>
#include <zephyr/net/socket.h>


#ifndef CONFIG_IP_PROTO_IPV6
int server_resolve(struct sockaddr_in* server_ptr);
#else
int server_resolve(struct sockaddr_in6* server_ptr);
#endif

struct coap_client_request *alloc_coap_request(uint16_t path_len, uint16_t payload_len);

void free_coap_request(void * data);

struct request_user_data {
	struct coap_client_request *req;
	struct coap_transmission_parameters *req_params;
};

#endif
```
